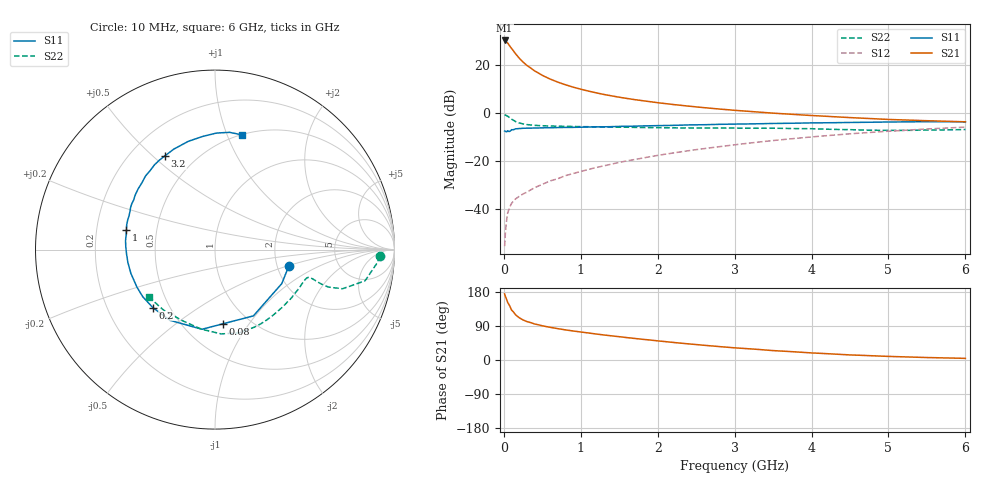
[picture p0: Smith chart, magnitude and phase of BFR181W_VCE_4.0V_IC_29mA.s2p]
! Infineon Technologies  Discrete & RF Semiconductors
! BFR181W
! VCE =  4.0 V,  IC =  29 mA
! Common Emitter S-Parameters:  Jan 2017
# GHz  S  MA  R  50
!  f  S11  S21  S12  S22
! GHz  MAG  ANG  MAG  ANG  MAG  ANG  MAG  ANG
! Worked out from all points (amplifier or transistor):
!   77 points, 10 MHz to 6 GHz, reference 50 ohm
!   highest |S21| = 30.1 dB at 10 MHz (marker M1)
!   |S21| within 3 dB of that: start of sweep to 92.93 MHz
!   unconditionally stable (mu >= 1): start of sweep to 12.82 MHz; 283.8 MHz to 2.637 GHz
!   at 130 MHz: K = 0.63, MSG = 31.0 dB, |S12| = -36.5 dB
!   at 2.2 GHz: K = 1.08, MAG = 8.4 dB, |S12| = -16.7 dB
!   at 6 GHz: K = 0.95, MSG = 1.1 dB, |S12| = -5.9 dB
!   S11 on the Smith chart (normalised r, x): 10 MHz: 2.32, -0.51; 80 MHz: 0.76, -0.76; 200 MHz: 0.40, -0.34; 1 GHz: 0.33, +0.10; 3.2 GHz: 0.34, +0.55; 6 GHz: 0.50, +1.13
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0.01  0.4213 -12.5  32.16 174.4  0.0017 86.3  0.9178 -2.2
0.02  0.4175 -27.0  31.57 167.8  0.0031 79.2  0.9065 -4.7
0.05  0.4268 -59.9  28.42 151.8  0.0083 69.1  0.8543 -11.7
0.08  0.4161 -84.2  24.23 141.1  0.0112 64.6  0.7864 -14.8
0.1  0.4497 -99.3  22.06 131.9  0.0132 62.7  0.7426 -17.1
0.15  0.4672 -122.5  17.2 119.8  0.0162 58.9  0.6654 -18.3
0.2  0.4737 -136.9  13.77 111.5  0.0185 59.4  0.6194 -17.9
0.25  0.4805 -146.8  11.44 105.7  0.0207 59.4  0.5924 -17.3
0.3  0.4826 -154.2  9.726 101.4  0.0226 60.9  0.5729 -16.8
0.4  0.4871 -164.3  7.489 95.0  0.0279 66.3  0.5532 -16.4
0.5  0.4907 -171.6  6.05 90.3  0.0328 69.2  0.5421 -16.6
0.6  0.4933 -177.1  5.086 86.3  0.0386 70.4  0.5351 -17.2
0.7  0.4971 178.4  4.383 82.8  0.0429 73.2  0.5309 -18.0
1  0.5052 167.6  3.121 73.9  0.0607 77.3  0.5195 -21.8
1.1  0.5109 164.4  2.849 71.3  0.0669 78.0  0.5177 -23.3
1.5  0.5253 153.6  2.125 61.5  0.0936 79.7  0.5056 -30.0
2.1  0.5485 139.5  1.566 48.5  0.139 78.9  0.4919 -42.2
3.1  0.5893 119.9  1.105 30.8  0.2274 72.6  0.483 -65.1
3.2  0.5922 118.0  1.075 29.4  0.2372 71.8  0.4819 -67.3
4.1  0.6231 102.2  0.868 17.7  0.3272 62.6  0.4647 -88.4
5.1  0.6504 88.0  0.724 8.9  0.4261 50.6  0.4344 -118.1
6  0.6566 76.9  0.654 4.3  0.5084 39.3  0.4529 -144.0
